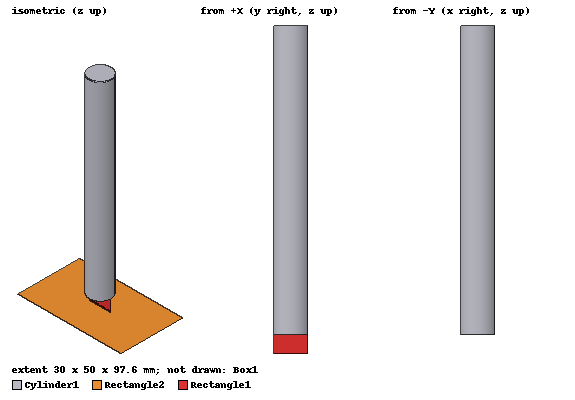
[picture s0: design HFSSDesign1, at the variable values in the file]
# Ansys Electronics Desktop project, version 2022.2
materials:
  vacuum: permittivity=1
  pec: conductivity=1e+30
  air: permittivity=1.0006 permeability=1.0000004

design HFSSDesign1 (HFSS, DrivenModal, model units mm)
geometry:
  Cylinder1 [pec] = cylinder(axis=Z, base_centre=(0mm, 0mm, 5.6mm), radius=5.2mm, height=92mm)
  Rectangle1 = rectangle(corner=(0mm, -5.2mm, 5.6mm), y_size=10.4mm, z_size=-5.6mm)
  Rectangle2 = rectangle(corner=(15mm, -25mm, 0mm), x_size=-29.9999999mm, y_size=49.9999999mm)
  Box1 [air] = box(corner=(15mm, -25mm, -18.8mm), size=(-30mm, 50mm, 120mm))
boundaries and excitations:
  PerfE1: Perfect E Objects=Rectangle2
  Rad1: Radiation Objects=Box1
  1: Lumped Port Objects=Rectangle1 Modes{Mode1{IntLine{(0, 0, 0) -> (0, 0, 5.6)} CharImp=Zpi RenormImp=50ohm}} Impedance=50ohm
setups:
  Setup1: HfssDriven Frequency=800MHz MaxDeltaS=0.02 MaximumPasses=6 MinimumPasses=1 MinimumConvergedPasses=1 PercentRefinement=30 BasisOrder=1 PortAccuracy=2 DrivenSolverType="Direct Solver"
    sweep Sweep: 600MHz to 1000MHz, 401 points; Type=Fast SaveFields
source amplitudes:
  1:1: 1W 0deg
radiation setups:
  Infinite Sphere1: Infinite Sphere Theta=0deg..180deg step 2deg Phi=-180deg..180deg step 2deg
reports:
  S Parameter Plot 1: dB(S(1,1)) vs Freq on Setup1 : Sweep
